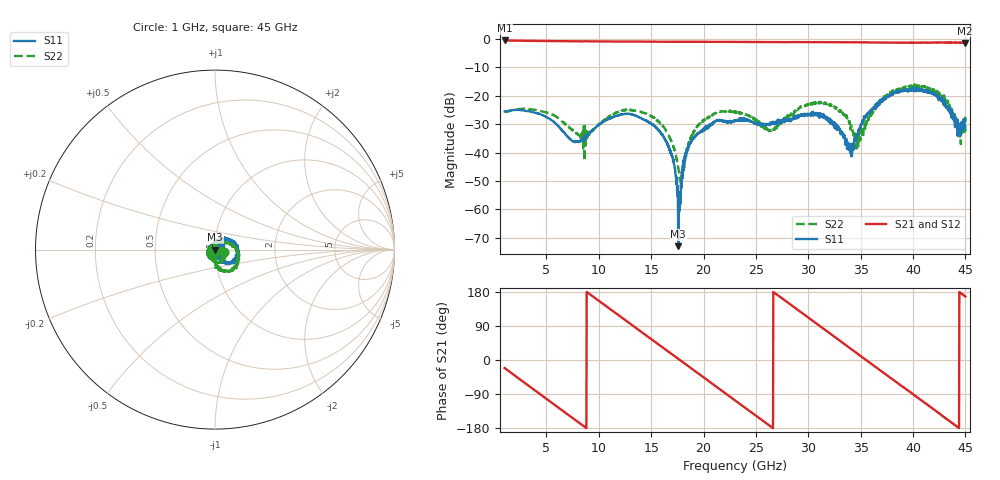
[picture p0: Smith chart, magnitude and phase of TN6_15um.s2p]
!Keysight Technologies,N5247B,MY61255062,A.19.80.06
!Date: Thursday, May 21, 2026 11:39:45
!Correction: S11(Cdelta 2-Port  )
!S21(Cdelta 2-Port  )
!S12(Cdelta 2-Port  )
!S22(Cdelta 2-Port  )
!S2P File: Measurements: S11, S21, S12, S22:
# Hz S  dB  R 50
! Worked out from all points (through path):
!   1601 points, 1 GHz to 45 GHz, reference 50 ohm
!   highest |S21| = -0.49 dB at 1 GHz (marker M1); lowest = -1.3 dB at 44.95 GHz (marker M2)
!   group delay of S21, straight-line fit = 56.2 ps
!   lowest |S11| = -73.0 dB at 17.58 GHz (marker M3), VSWR 1.00, Z = 50 + j0.00866 ohm
!   |S11| at or under -10 dB: start of sweep to end of sweep
!   |S22| runs from -50.8 to -16.0 dB; largest |S21 - S12| = 0.015
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1e9  -25.51 -16.0  -0.49 -21.2  -0.49 -21.2  -25.51 -16.7
4.575e9  -26.73 -96.8  -0.67 -93.9  -0.67 -94.0  -25.48 -96.7
8.3425e9  -35.46 -88.4  -0.79 -170.4  -0.79 -170.4  -34.62 -118.0
1.0185e10  -29.74 -83.9  -0.83 152.4  -0.83 152.4  -29.84 -86.1
1.23575e10  -26.43 -119.4  -0.88 108.6  -0.88 108.6  -24.93 -113.0
1.5685e10  -31.88 175.9  -0.93 41.3  -0.93 41.2  -29.08 -168.3
1.69775e10  -41.23 154.3  -0.96 15.3  -0.97 15.2  -36.51 -178.2
1.75825e10  -72.97 157.3  -0.96 3.1  -0.97 3.1  -45.49 -155.4
1.794e10  -46.40 -41.2  -0.96 -4.1  -0.97 -4.2  -46.96 -81.9
1.904e10  -35.23 -59.8  -0.97 -26.3  -0.97 -26.3  -33.00 -62.0
2.11025e10  -28.94 -100.9  -0.98 -68.1  -0.98 -68.2  -26.25 -93.4
2.3e10  -28.94 -140.1  -0.99 -106.6  -1.00 -106.6  -25.59 -130.1
2.66575e10  -29.94 97.2  -1.06 179.6  -1.05 179.6  -32.05 87.9
3.03425e10  -26.70 -18.9  -1.08 105.0  -1.08 105.0  -22.48 -46.6
3.246e10  -30.09 -80.0  -1.09 62.0  -1.10 62.0  -24.01 -96.6
3.41375e10  -40.55 156.8  -1.12 28.0  -1.16 27.9  -31.34 -152.6
3.4825e10  -32.02 107.0  -1.14 14.1  -1.14 14.0  -33.63 127.8
3.7685e10  -20.15 32.1  -1.23 -43.8  -1.25 -43.8  -19.25 10.2
4.10125e10  -18.33 -28.7  -1.26 -110.5  -1.24 -110.9  -16.85 -56.1
4.31025e10  -23.02 -53.6  -1.16 -153.2  -1.21 -153.2  -21.49 -88.2
4.4945e10  -28.82 12.1  -1.34 168.8  -1.27 168.6  -29.72 10.4
4.5e10  -28.79 22.4  -1.24 167.5  -1.29 167.8  -32.46 -6.5
